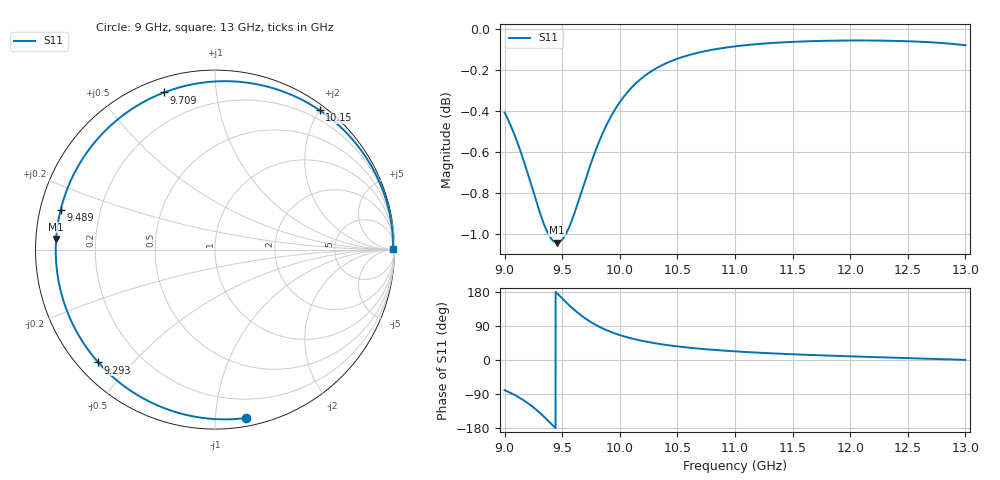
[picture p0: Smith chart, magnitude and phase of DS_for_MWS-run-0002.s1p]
! TOUCHSTONE file generated by CST DESIGN STUDIO
! Date and time: Tue Feb  4 18:31:27 2025
! Project name: C:\Work\MatlabApps\UnitCellOptimizationMatlab\CST\unitcell.cst
! Tree item: Tasks\Sweep1\SPara1\S-Parameters
! Header version: 2024
! Port assignment regex: !\s*Touchstone port\s*([0-9]+)\s*=\s*(CST MWS port|CST DES external port|CST DES block port)\s*(.+)\s* \(\"(.*)\"\)(\s*mode\s*([0-9]+))?.*
! Touchstone port assignment:
! Touchstone port 1 = CST DES external port 1 ("")
# GHz S MA R 50
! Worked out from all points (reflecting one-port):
!   4001 points, 9 GHz to 13 GHz, reference 50 ohm
!   lowest |S11| = -1.0 dB at 9.455 GHz (marker M1), VSWR 16.73, Z = 2.99 + j1.67 ohm
!   phase of S11 starts at -80 deg and turns -280 deg over the sweep
!   S11 on the Smith chart (normalised r, x): 9 GHz: 0.06, -1.20; 9.293 GHz: 0.06, -0.40; 9.489 GHz: 0.06, +0.13; 9.709 GHz: 0.06, +0.73; 10.15 GHz: 0.07, +2.00; 13 GHz: open
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9  0.9542 -79.7
9.091  0.9415 -92.9
9.164  0.9291 -106.1
9.23  0.9165 -120.3
9.293  0.9045 -136.0
9.339  0.8967 -148.7
9.38  0.8914 -160.8
9.418  0.8883 -172.4
9.455  0.8872 176.2
9.489  0.8881 165.7
9.5  0.8887 162.3
9.555  0.8942 146.0
9.605  0.9017 132.3
9.656  0.9107 119.7
9.709  0.9203 107.9
9.765  0.93 97.2
9.829  0.94 86.6
9.912  0.9508 75.4
10  0.9597 65.8
10.155  0.9708 53.1
10.312  0.9779 43.9
10.5  0.9833 35.9
10.723  0.9873 29.0
11  0.9902 22.8
11.5  0.9927 15.1
12  0.9934 9.6
12.5  0.993 5.0
13  0.9908 0.3
